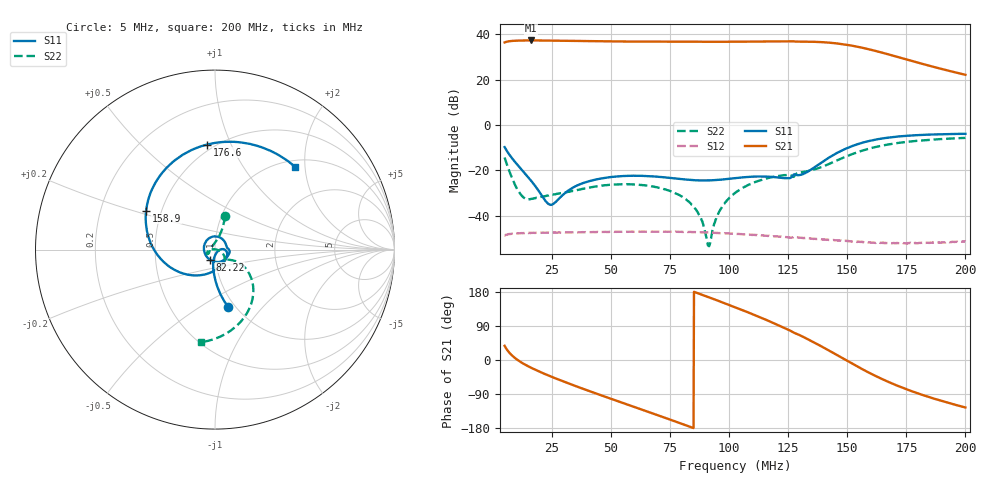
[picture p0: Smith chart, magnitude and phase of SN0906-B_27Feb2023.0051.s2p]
# Hz S DB R 50
! CMT, M5045, 22160017, 22.4.3/2
! Date: 2/27/2023 00:51:24
! Data: Format (Calibration Info)
! Freq	S11:dB/Ang(F2)	S21:dB/Ang(F2)	S12:dB/Ang(F2)	S22:dB/Ang(F2)
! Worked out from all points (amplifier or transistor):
!   1001 points, 5 MHz to 200 MHz, reference 50 ohm
!   highest |S21| = 37.2 dB at 16.31 MHz (marker M1)
!   |S21| within 3 dB of that: start of sweep to 155.4 MHz
!   unconditionally stable (mu >= 1): start of sweep to end of sweep
!   at 37.37 MHz: K = 1.76, MAG = 37.0 dB, |S12| = -47.2 dB
!   at 102.5 MHz: K = 1.94, MAG = 36.7 dB, |S12| = -47.8 dB
!   at 200 MHz: K = 6.52, MAG = 25.6 dB, |S12| = -51.3 dB
!   S11 on the Smith chart (normalised r, x): 5 MHz: 0.93, -0.66; 82.22 MHz: 0.94, -0.10; 158.9 MHz: 0.41, +0.22; 176.6 MHz: 0.46, +0.82; 200 MHz: 1.14, +1.78
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5000000  -9.71 -77.1  36.36 37.4  -48.53 40.0  -14.29 73.5
7145000  -13.22 -85.5  36.92 18.3  -48.01 20.9  -20.71 71.6
9290000  -16.11 -90.5  37.10 5.8  -47.83 8.7  -26.12 81.7
1.631e7  -24.63 -97.4  37.24 -20.7  -47.48 -18.2  -32.52 151.1
2.645e7  -34.01 -17.5  37.16 -48.3  -47.24 -44.9  -30.49 -168.4
3.7565e7  -25.76 1.2  37.00 -74.5  -47.17 -69.3  -28.24 -150.7
5.297e7  -22.60 -24.8  36.81 -108.8  -47.04 -101.4  -26.13 -151.2
7.013e7  -22.80 -70.6  36.67 -146.4  -46.96 -135.9  -27.56 -165.3
8.222e7  -24.03 -117.5  36.66 -173.4  -47.08 -160.1  -33.15 178.9
9.2165e7  -24.34 -167.4  36.65 163.8  -47.39 179.2  -50.46 39.0
1.025e8  -23.38 139.1  36.68 139.2  -47.84 156.5  -29.91 -17.9
1.1225e8  -22.64 91.8  36.75 114.9  -48.54 134.3  -24.64 -32.5
1.20635e8  -23.08 45.0  36.83 92.6  -49.05 112.6  -22.44 -40.9
1.2629e8  -23.10 6.7  36.90 76.1  -49.56 98.2  -22.25 -44.8
1.35065e8  -19.36 -83.1  36.67 49.3  -49.99 68.0  -19.84 -34.4
1.40915e8  -15.23 -123.8  36.38 29.6  -50.47 47.1  -17.72 -29.4
1.46375e8  -11.90 -154.0  35.84 10.5  -50.77 25.3  -15.25 -29.3
1.53005e8  -8.90 174.7  34.75 -12.9  -51.38 -1.3  -12.45 -35.8
1.58855e8  -7.11 150.5  33.43 -32.3  -51.69 -23.3  -10.51 -44.5
1.6763e8  -5.49 119.8  31.05 -58.4  -51.95 -52.5  -8.51 -58.8
1.766e8  -4.63 94.4  28.43 -80.8  -51.97 -74.8  -7.25 -72.2
2e8  -3.86 45.9  22.12 -125.3  -51.30 -115.8  -5.65 -98.6
